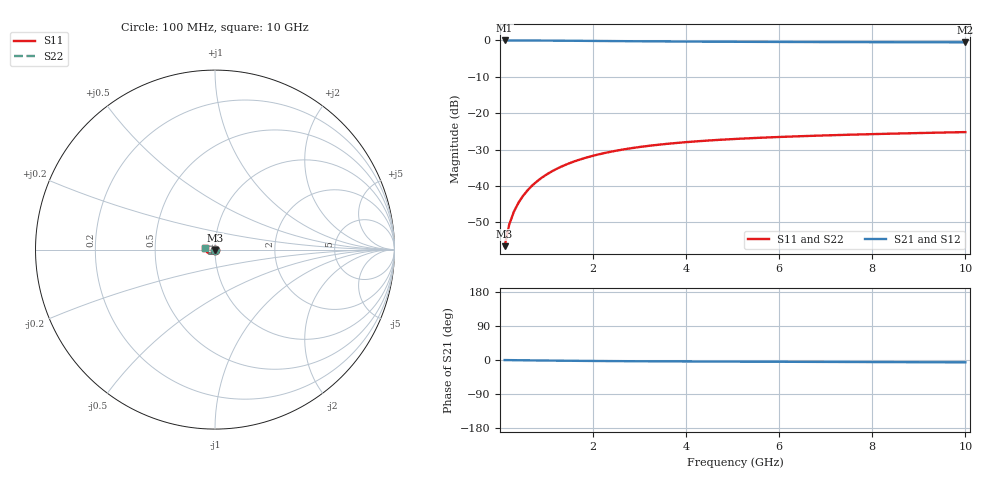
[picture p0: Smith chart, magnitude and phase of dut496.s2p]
! Touchstone file exported from HFSS 2024.1.0
!  File:  C:/UserFiles/LocalFiles/RDL_TSV_Batchsim/temp_TSV1_496_1779701086.aedt
!  Generated:  05:30:05 PM May 25, 2026
!  Design:  TSV1
!  Project:  temp_TSV1_496_1779701086
!  Setup:  Setup1
!  Solution:  Sweep
! Variables:
!  dtsv = 10.26um
!  hbump = 3um
!  htsv = 98.4um
!  lrdl = 252.1521522um
!  p = 40
!  p1 = 54.02um
!  t = 500um
!  trdl = 3um
!  wrdl = 24.89489489um
# GHz S MA R 50.000000
! Terminal data exported
! Port[1] = TSV22_T1
! Port[2] = TSV22_T2
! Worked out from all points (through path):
!   100 points, 100 MHz to 10 GHz, reference 50 ohm
!   highest |S21| = 0.00 dB at 100 MHz (marker M1); lowest = -0.5 dB at 10 GHz (marker M2)
!   lowest |S11| = -56.5 dB at 100 MHz (marker M3), VSWR 1.00, Z = 50 - j0.149 ohm
!   |S11| at or under -10 dB: start of sweep to end of sweep
!   |S22| runs from -56.5 to -25.2 dB; largest |S21 - S12| = 3.4e-15
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0.1  0.00149 -85.9  0.9998 -0.2  0.9998 -0.2  0.00149 -85.9
! Gamma 0 0 0 0
! Port Impedance 50 0 50 0
0.2  0.002967 -90.6  0.9996 -0.3  0.9996 -0.3  0.002967 -90.6
0.3  0.004444 -93.5  0.9994 -0.5  0.9994 -0.5  0.004444 -93.5
0.4  0.005915 -95.8  0.999 -0.6  0.999 -0.6  0.005915 -95.8
0.5  0.007375 -98.0  0.9986 -0.8  0.9986 -0.8  0.007375 -98.0
0.6  0.00882 -100.1  0.998 -0.9  0.998 -0.9  0.00882 -100.1
0.7  0.01025 -102.1  0.9974 -1.0  0.9974 -1.0  0.01025 -102.1
0.8  0.01165 -104.1  0.9967 -1.2  0.9967 -1.2  0.01165 -104.1
0.9  0.01302 -106.0  0.996 -1.3  0.996 -1.3  0.01302 -106.0
1.1  0.01569 -109.7  0.9943 -1.6  0.9943 -1.6  0.01569 -109.7
1.4  0.01945 -115.0  0.9914 -1.9  0.9914 -1.9  0.01945 -115.0
1.6  0.02179 -118.4  0.9893 -2.2  0.9893 -2.2  0.02179 -118.4
1.8  0.02398 -121.6  0.9871 -2.4  0.9871 -2.4  0.02398 -121.6
2.1  0.02701 -126.2  0.9838 -2.6  0.9838 -2.6  0.02701 -126.2
2.5  0.03056 -131.9  0.9794 -3.0  0.9794 -3.0  0.03056 -131.9
2.9  0.03363 -137.1  0.9752 -3.2  0.9752 -3.2  0.03363 -137.1
3.4  0.03686 -142.9  0.9704 -3.5  0.9704 -3.5  0.03686 -142.9
4.2  0.04096 -151.0  0.9639 -3.9  0.9639 -3.9  0.04096 -151.0
5.1  0.04445 -158.7  0.9581 -4.3  0.9581 -4.3  0.04445 -158.7
6.7  0.04889 -169.8  0.9509 -4.9  0.9509 -4.9  0.04889 -169.8
8.4  0.05234 -179.3  0.9459 -5.6  0.9459 -5.6  0.05234 -179.3
10  0.05504 173.2  0.9427 -6.2  0.9427 -6.2  0.05504 173.2
